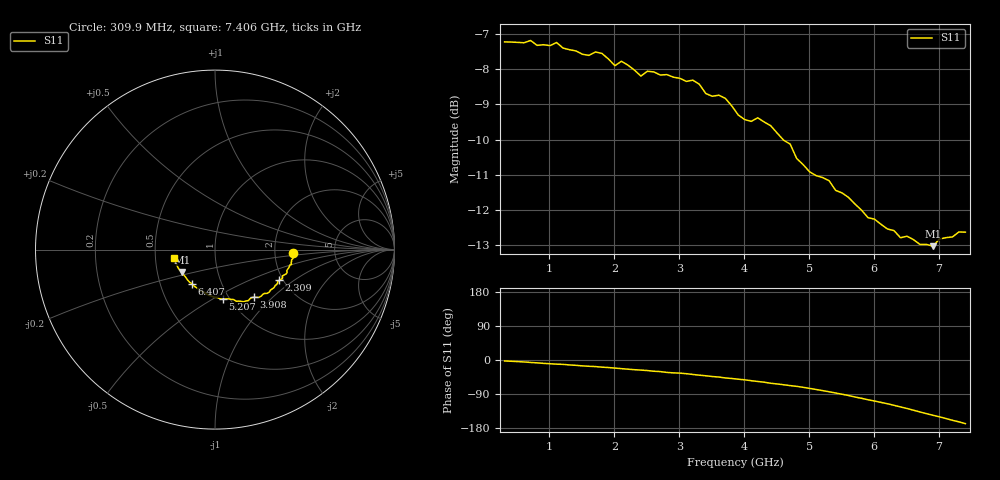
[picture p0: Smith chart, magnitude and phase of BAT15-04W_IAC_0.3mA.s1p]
! Infineon Technologies  Discrete & RF Semiconductors
! BAT15-04W-E6327
! IAC = 0.3 mA
! One-Port S-Parameters
# Hz  S  MA  R  50
!f  S11
!Hz  Mag  Ang
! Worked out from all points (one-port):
!   72 points, 309.9 MHz to 7.406 GHz, reference 50 ohm
!   lowest |S11| = -13.0 dB at 6.907 GHz (marker M1), VSWR 1.57, Z = 33.5 - j8.82 ohm
!   |S11| at or under -10 dB: 4.598 GHz to end of sweep
!   S11 on the Smith chart (normalised r, x): 309.9 MHz: 2.54, -0.12; 2.309 GHz: 1.91, -0.78; 3.908 GHz: 1.29, -0.78; 5.207 GHz: 0.93, -0.56; 6.407 GHz: 0.72, -0.29; 7.406 GHz: 0.63, -0.06
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3.0985e8  0.4355 -2.5
7.0965e8  0.4376 -6.5
8.096e8  0.4306 -7.5
1.10945e9  0.4347 -11.0
1.2094e9  0.4269 -11.5
1.8091e9  0.4194 -18.8
2.009e9  0.4029 -21.3
2.10895e9  0.4088 -22.8
2.30885e9  0.3971 -25.6
2.4088e9  0.3894 -26.6
2.50875e9  0.3956 -27.9
2.8086e9  0.3912 -32.8
3.0085e9  0.3866 -34.7
3.2084e9  0.3842 -38.1
3.70815e9  0.362 -47.3
3.90805e9  0.3427 -50.6
4.4078e9  0.3309 -61.4
4.70765e9  0.3115 -67.6
4.8076e9  0.2972 -69.5
5.0075e9  0.2844 -74.9
5.2074e9  0.2792 -80.8
5.70715e9  0.2559 -97.7
5.90705e9  0.2447 -104.9
6.4068e9  0.2291 -123.8
6.6067e9  0.2277 -132.5
6.90655e9  0.2229 -145.9
7.0065e9  0.2282 -149.9
7.4063e9  0.2334 -167.9
